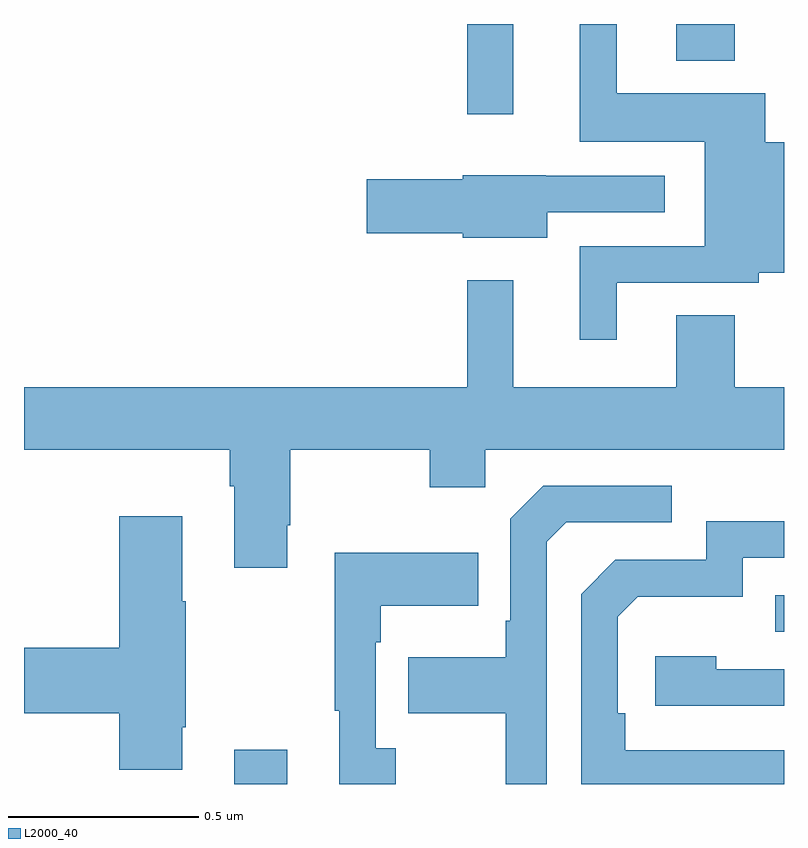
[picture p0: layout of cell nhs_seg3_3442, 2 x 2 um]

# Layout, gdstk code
import gdstk
lib = gdstk.Library(unit=1e-6, precision=1e-09)
def R(c, l, rs):  # rectangles x0, y0, x1, y1
    for r in rs: c.add(gdstk.rectangle(r[:2], r[2:], *l))
def P(c, l, *ps):  # polygons
    for p in ps: c.add(gdstk.Polygon(p, *l))
L2000_40 = (2000, 40)

nhs_seg3_3442 = lib.new_cell('nhs_seg3_3442')
R(nhs_seg3_3442, L2000_40, [(154.553,669.4,154.693,669.49), (155.977,669.801,156,669.897), (155.166,671.163,155.287,671.4), (155.717,671.303,155.87,671.4)])
P(nhs_seg3_3442, L2000_40, [(155.56,670.719),(155.934,670.719),(155.934,670.745),(156,670.745),(156,671.089),(155.951,671.089),(155.951,671.218),(155.56,671.218),(155.56,671.4),(155.462,671.4),(155.462,671.09),(155.792,671.09),(155.792,670.815),(155.462,670.815),(155.462,670.569),(155.56,670.569)],
  [(155.377,670.905),(155.686,670.905),(155.686,671.001),(155.373,671.001),(155.373,671.002),(155.154,671.002),(155.154,670.991),(154.902,670.991),(154.902,670.849),(155.154,670.849),(155.154,670.838),(155.377,670.838)],
  [(154.693,670.081),(154.701,670.081),(154.701,670.28),(155.068,670.28),(155.068,670.181),(155.214,670.181),(155.214,670.28),(156,670.28),(156,670.444),(155.87,670.444),(155.87,670.634),(155.717,670.634),(155.717,670.444),(155.287,670.444),(155.287,670.726),(155.166,670.726),(155.166,670.444),(154,670.444),(154,670.28),(154.541,670.28),(154.541,670.184),(154.553,670.184),(154.553,669.969),(154.693,669.969)],
  [(155.376,670.038),(155.427,670.089),(155.704,670.089),(155.704,670.185),(155.367,670.185),(155.28,670.098),(155.28,669.829),(155.268,669.829),(155.268,669.733),(155.011,669.733),(155.011,669.586),(155.268,669.586),(155.268,669.4),(155.376,669.4)],
  [(154.417,669.55),(154.425,669.55),(154.425,669.881),(154.417,669.881),(154.417,670.105),(154.25,670.105),(154.25,669.758),(154,669.758),(154,669.586),(154.25,669.586),(154.25,669.438),(154.417,669.438)],
  [(156,669.489),(155.582,669.489),(155.582,669.586),(155.562,669.586),(155.562,669.84),(155.615,669.893),(155.892,669.893),(155.892,669.996),(156,669.996),(156,670.092),(155.796,670.092),(155.796,669.99),(155.556,669.99),(155.466,669.9),(155.466,669.4),(156,669.4)],
  [(154.978,669.494),(154.926,669.494),(154.926,669.773),(154.939,669.773),(154.939,669.869),(155.195,669.869),(155.195,670.009),(154.818,670.009),(154.818,669.593),(154.829,669.593),(154.829,669.4),(154.978,669.4)],
  [(156,669.702),(155.822,669.702),(155.822,669.736),(155.661,669.736),(155.661,669.606),(156,669.606)])

lib.write_gds('nhs_seg3_3442.gds')
